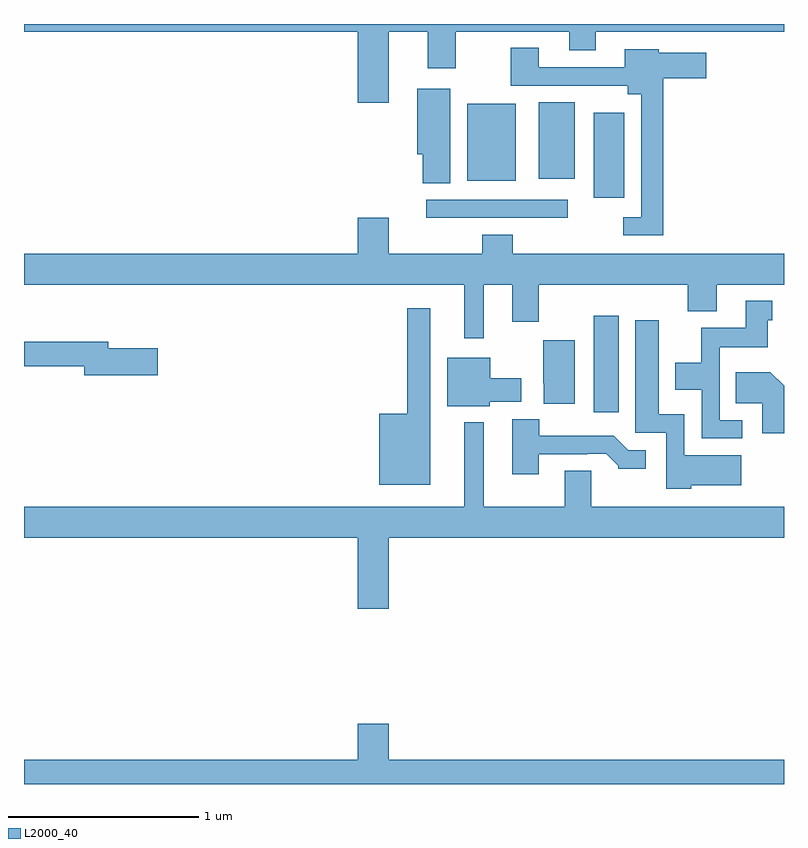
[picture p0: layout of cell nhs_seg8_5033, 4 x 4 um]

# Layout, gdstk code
import gdstk
lib = gdstk.Library(unit=1e-6, precision=1e-09)
def R(c, l, rs):  # rectangles x0, y0, x1, y1
    for r in rs: c.add(gdstk.rectangle(r[:2], r[2:], *l))
def P(c, l, *ps):  # polygons
    for p in ps: c.add(gdstk.Polygon(p, *l))
L2000_40 = (2000, 40)

nhs_seg8_5033 = lib.new_cell('nhs_seg8_5033')
R(nhs_seg8_5033, L2000_40, [(417.998,1087.857,418.129,1088.365), (417.117,1088.88,417.862,1088.976), (417.998,1088.985,418.159,1089.433), (417.332,1089.074,417.589,1089.481), (417.71,1089.086,417.898,1089.487)])
P(nhs_seg8_5033, L2000_40, [(416.92,1089.86),(417.125,1089.86),(417.125,1089.666),(417.273,1089.666),(417.273,1089.86),(417.869,1089.86),(417.869,1089.761),(418.009,1089.761),(418.009,1089.86),(419,1089.86),(419,1089.9),(415,1089.9),(415,1089.86),(416.756,1089.86),(416.756,1089.486),(416.92,1089.486)],
  [(418.364,1089.614),(418.591,1089.614),(418.591,1089.748),(418.341,1089.748),(418.341,1089.766),(418.163,1089.766),(418.163,1089.672),(417.709,1089.672),(417.709,1089.775),(417.562,1089.775),(417.562,1089.576),(418.178,1089.576),(418.178,1089.53),(418.248,1089.53),(418.248,1088.883),(418.155,1088.883),(418.155,1088.787),(418.364,1088.787)],
  [(417.244,1089.559),(417.071,1089.559),(417.071,1089.215),(417.098,1089.215),(417.098,1089.061),(417.244,1089.061)],
  [(417.421,1088.528),(417.569,1088.528),(417.569,1088.334),(417.709,1088.334),(417.709,1088.528),(418.493,1088.528),(418.493,1088.387),(418.645,1088.387),(418.645,1088.528),(419,1088.528),(419,1088.692),(417.572,1088.692),(417.572,1088.791),(417.412,1088.791),(417.412,1088.692),(416.92,1088.692),(416.92,1088.881),(416.756,1088.881),(416.756,1088.692),(415,1088.692),(415,1088.528),(417.317,1088.528),(417.317,1088.247),(417.421,1088.247)],
  [(418.78,1087.815),(418.662,1087.815),(418.662,1088.198),(418.915,1088.198),(418.915,1088.34),(418.939,1088.34),(418.939,1088.443),(418.799,1088.443),(418.799,1088.302),(418.564,1088.302),(418.564,1088.116),(418.427,1088.116),(418.427,1087.976),(418.566,1087.976),(418.566,1087.719),(418.78,1087.719)],
  [(417.139,1088.404),(417.018,1088.404),(417.018,1087.849),(416.87,1087.849),(416.87,1087.475),(417.139,1087.475)],
  [(418.512,1087.472),(418.774,1087.472),(418.774,1087.63),(418.476,1087.63),(418.476,1087.846),(418.342,1087.846),(418.342,1088.341),(418.217,1088.341),(418.217,1087.749),(418.38,1087.749),(418.38,1087.454),(418.512,1087.454)],
  [(417.898,1088.236),(417.734,1088.236),(417.734,1088.008),(417.736,1088.008),(417.736,1087.901),(417.898,1087.901)],
  [(415.705,1088.193),(415.444,1088.193),(415.444,1088.227),(415,1088.227),(415,1088.098),(415.316,1088.098),(415.316,1088.051),(415.705,1088.051)],
  [(417.45,1087.913),(417.616,1087.913),(417.616,1088.035),(417.454,1088.035),(417.454,1088.143),(417.227,1088.143),(417.227,1087.889),(417.45,1087.889)],
  [(419,1087.995),(418.927,1088.068),(418.747,1088.068),(418.747,1087.904),(418.886,1087.904),(418.886,1087.746),(419,1087.746)],
  [(417.709,1087.635),(417.965,1087.635),(417.965,1087.638),(418.064,1087.638),(418.128,1087.574),(418.128,1087.559),(418.273,1087.559),(418.273,1087.656),(418.179,1087.656),(418.103,1087.732),(417.712,1087.732),(417.712,1087.819),(417.569,1087.819),(417.569,1087.53),(417.709,1087.53)],
  [(416.92,1087.196),(419,1087.196),(419,1087.36),(417.985,1087.36),(417.985,1087.55),(417.845,1087.55),(417.845,1087.36),(417.421,1087.36),(417.421,1087.804),(417.317,1087.804),(417.317,1087.36),(415,1087.36),(415,1087.196),(416.756,1087.196),(416.756,1086.822),(416.92,1086.822)],
  [(419,1086.028),(416.92,1086.028),(416.92,1086.217),(416.756,1086.217),(416.756,1086.028),(415,1086.028),(415,1085.9),(419,1085.9)])

lib.write_gds('nhs_seg8_5033.gds')
